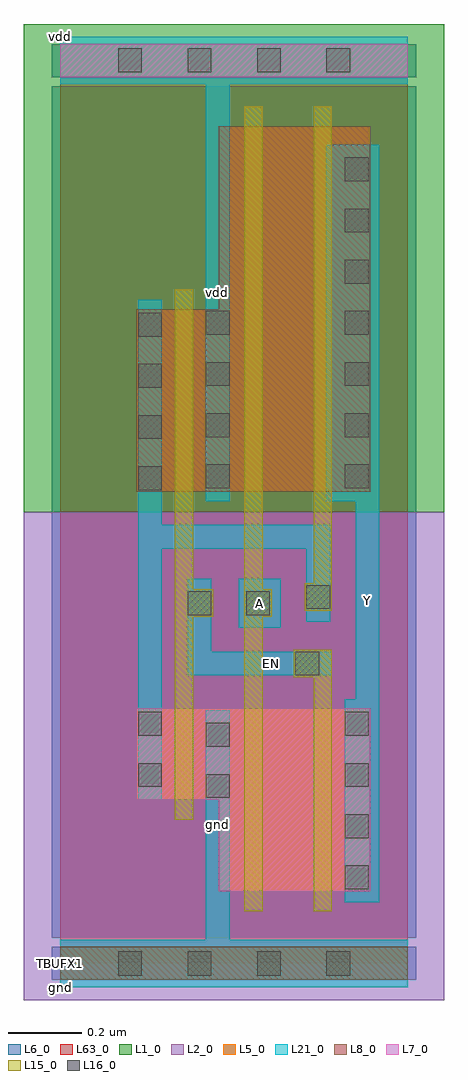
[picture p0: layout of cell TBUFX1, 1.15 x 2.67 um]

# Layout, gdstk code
import gdstk
lib = gdstk.Library(unit=1e-6, precision=1e-09)
def R(c, l, rs):  # rectangles x0, y0, x1, y1
    for r in rs: c.add(gdstk.rectangle(r[:2], r[2:], *l))
def A(c, l, x, y, w, h, nx, ny, dx, dy):  # array of equal rectangles
    R(c, l, [(x+i*dx, y+j*dy, x+i*dx+w, y+j*dy+h) for i in range(nx) for j in range(ny)])
def P(c, l, *ps):  # polygons
    for p in ps: c.add(gdstk.Polygon(p, *l))
L1_0 = (1, 0)
L2_0 = (2, 0)
L5_0 = (5, 0)
L6_0 = (6, 0)
L7_0 = (7, 0)
L8_0 = (8, 0)
L15_0 = (15, 0)
L16_0 = (16, 0)
L21_0 = (21, 0)
L63_0 = (63, 0)

tbufx1 = lib.new_cell('TBUFX1')
R(tbufx1, L1_0, [(-0.1,1.235,1.05,2.57)])
R(tbufx1, L2_0, [(-0.1,-0.1,1.05,1.235)])
R(tbufx1, L5_0, [(0,-0.045,0.95,0.045), (0.503,0.198,0.553,0.698), (0.553,0.198,0.693,0.698), (0.693,0.198,0.743,0.698), (0.743,0.198,0.848,0.698), (0.208,0.448,0.313,0.698), (0.313,0.448,0.363,0.698), (0.208,1.29,0.313,1.79), (0.313,1.29,0.363,1.79), (0.503,1.29,0.553,2.29), (0.553,1.29,0.693,2.29), (0.693,1.29,0.743,2.29), (0.743,1.29,0.848,2.29), (0,2.425,0.95,2.515)])
P(tbufx1, L5_0, [(0.503,0.698),(0.503,0.198),(0.433,0.198),(0.433,0.448),(0.363,0.448),(0.363,0.698)],
  [(0.433,1.79),(0.433,2.29),(0.503,2.29),(0.503,1.29),(0.363,1.29),(0.363,1.79)])
R(tbufx1, L6_0, [(-0.023,-0.045,0.973,0.045), (-0.023,-0.045,0.973,0.045), (-0.023,0.07,0.973,1.235), (-0.023,1.235,0.973,2.4), (-0.023,2.425,0.973,2.515), (-0.023,2.425,0.973,2.515)])
R(tbufx1, L7_0, [(0.503,0.198,0.553,0.698), (0.553,0.198,0.693,0.698), (0.693,0.198,0.743,0.698), (0.743,0.198,0.848,0.698), (0.208,0.448,0.313,0.698), (0.313,0.448,0.363,0.698), (0,2.425,0.95,2.515)])
P(tbufx1, L7_0, [(0.503,0.698),(0.503,0.198),(0.433,0.198),(0.433,0.448),(0.363,0.448),(0.363,0.698)])
R(tbufx1, L8_0, [(0,-0.045,0.95,0.045), (0.208,1.29,0.313,1.79), (0.313,1.29,0.363,1.79), (0.503,1.29,0.553,2.29), (0.553,1.29,0.693,2.29), (0.693,1.29,0.743,2.29), (0.743,1.29,0.848,2.29)])
P(tbufx1, L8_0, [(0.433,1.79),(0.433,2.29),(0.503,2.29),(0.503,1.29),(0.363,1.29),(0.363,1.79)])
R(tbufx1, L15_0, [(0.503,0.143,0.553,0.198), (0.693,0.143,0.743,0.198), (0.503,0.198,0.553,0.698), (0.693,0.198,0.743,0.698), (0.313,0.393,0.363,0.448), (0.313,0.448,0.363,0.698), (0.313,1.29,0.363,1.79), (0.503,1.29,0.553,2.29), (0.693,1.29,0.743,2.29), (0.313,1.79,0.363,1.845), (0.503,2.29,0.553,2.345), (0.693,2.29,0.743,2.345)])
P(tbufx1, L15_0, [(0.313,1.29),(0.363,1.29),(0.363,1.023),(0.418,1.023),(0.418,0.948),(0.363,0.948),(0.363,0.698),(0.313,0.698)],
  [(0.503,1.29),(0.553,1.29),(0.553,1.023),(0.578,1.023),(0.578,0.948),(0.553,0.948),(0.553,0.698),(0.503,0.698)],
  [(0.693,0.783),(0.638,0.783),(0.638,0.858),(0.743,0.858),(0.743,0.698),(0.693,0.698)],
  [(0.693,1.04),(0.693,1.29),(0.743,1.29),(0.743,0.965),(0.668,0.965),(0.668,1.04)])
A(tbufx1, L16_0, 0.158, -0.033, 0.065, 0.066, 4, 1, 0.19, 0)
A(tbufx1, L16_0, 0.778, 0.203, 0.065, 0.065, 1, 4, 0, 0.14)
A(tbufx1, L16_0, 0.213, 1.295, 0.065, 0.065, 1, 4, 0, 0.14)
A(tbufx1, L16_0, 0.398, 1.3, 0.065, 0.065, 1, 4, 0, 0.14)
A(tbufx1, L16_0, 0.778, 1.3, 0.065, 0.065, 1, 7, 0, 0.14)
A(tbufx1, L16_0, 0.158, 2.438, 0.065, 0.065, 4, 1, 0.19, 0)
R(tbufx1, L16_0, [(0.398,0.453,0.463,0.518), (0.213,0.483,0.278,0.548), (0.398,0.593,0.463,0.658), (0.213,0.623,0.278,0.688), (0.643,0.788,0.708,0.853), (0.348,0.953,0.413,1.018), (0.508,0.953,0.573,1.018), (0.673,0.97,0.738,1.035)])
R(tbufx1, L21_0, [(0.488,0.918,0.603,1.053)])
P(tbufx1, L21_0, [(0,2.405),(0,2.535),(0.95,2.535),(0.95,2.405),(0.463,2.405),(0.463,1.265),(0.398,1.265),(0.398,2.405)],
  [(0,-0.065),(0,0.065),(0.398,0.065),(0.398,0.693),(0.463,0.693),(0.463,0.065),(0.95,0.065),(0.95,-0.065)],
  [(0.413,0.853),(0.743,0.853),(0.743,0.788),(0.348,0.788),(0.348,1.053),(0.413,1.053)],
  [(0.673,1.135),(0.278,1.135),(0.278,0.448),(0.213,0.448),(0.213,1.815),(0.278,1.815),(0.278,1.2),(0.738,1.2),(0.738,0.935),(0.673,0.935)],
  [(0.728,1.265),(0.728,2.24),(0.873,2.24),(0.873,0.168),(0.778,0.168),(0.778,0.723),(0.808,0.723),(0.808,1.265)])
R(tbufx1, L63_0, [(0,0,0.95,2.47)])
tbufx1.add(gdstk.Label('vdd', (0.43,1.835), layer=21, texttype=1))
tbufx1.add(gdstk.Label('gnd', (0.43,0.379), layer=21, texttype=1))
tbufx1.add(gdstk.Label('EN', (0.578,0.82), layer=21, texttype=1))
tbufx1.add(gdstk.Label('Y', (0.84,0.994), layer=21, texttype=1))
tbufx1.add(gdstk.Label('A', (0.545,0.985), layer=21, texttype=1))
tbufx1.add(gdstk.Label('vdd', (0,2.535), layer=21, texttype=2))
tbufx1.add(gdstk.Label('gnd', (0,-0.065), layer=21, texttype=2))
tbufx1.add(gdstk.Label('TBUFX1', (0,0), layer=63, texttype=1))

lib.write_gds('TBUFX1.gds')
